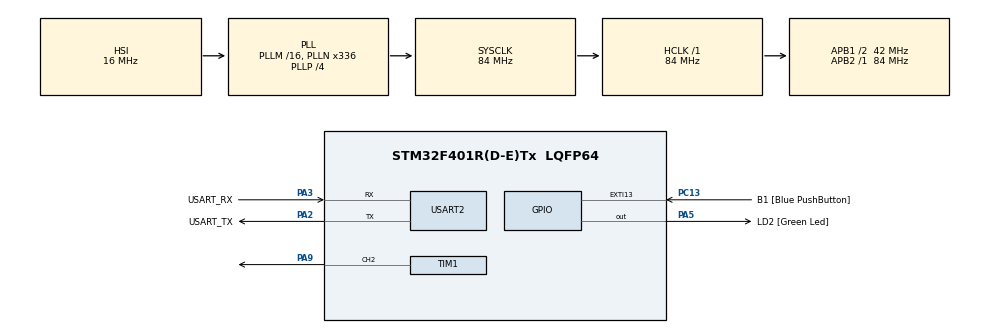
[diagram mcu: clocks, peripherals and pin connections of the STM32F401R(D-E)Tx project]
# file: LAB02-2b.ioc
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Mcu.Family=STM32F4
Mcu.Name=STM32F401R(D-E)Tx
Mcu.Package=LQFP64
NVIC.PriorityGroup=NVIC_PRIORITYGROUP_4
PA13.GPIO_Label=TMS
PA13.Mode=Trace_Asynchronous_SW
PA13.Signal=SYS_JTMS-SWDIO
PA14.GPIO_Label=TCK
PA14.Mode=Trace_Asynchronous_SW
PA14.Signal=SYS_JTCK-SWCLK
PA2.GPIO_Label=USART_TX
PA2.GPIO_Mode=GPIO_MODE_AF_PP
PA2.GPIO_PuPd=GPIO_NOPULL
PA2.GPIO_Speed=GPIO_SPEED_FREQ_LOW
PA2.Mode=Asynchronous
PA2.Signal=USART2_TX
PA3.GPIO_Label=USART_RX
PA3.GPIO_Mode=GPIO_MODE_AF_PP
PA3.GPIO_PuPd=GPIO_NOPULL
PA3.GPIO_Speed=GPIO_SPEED_FREQ_LOW
PA3.Mode=Asynchronous
PA3.Signal=USART2_RX
PA5.GPIO_Label=LD2 [Green Led]
PA5.GPIO_Mode=GPIO_MODE_OUTPUT_PP
PA5.GPIO_PuPd=GPIO_NOPULL
PA5.GPIO_Speed=GPIO_SPEED_FREQ_LOW
PA5.Signal=GPIO_Output
PA9.Signal=S_TIM1_CH2
PB3.GPIO_Label=SWO
PB3.Mode=Trace_Asynchronous_SW
PB3.Signal=SYS_JTDO-SWO
PC13-ANTI_TAMP.GPIO_Label=B1 [Blue PushButton]
PC13-ANTI_TAMP.GPIO_ModeDefaultEXTI=GPIO_MODE_IT_FALLING
PC13-ANTI_TAMP.GPIO_PuPd=GPIO_NOPULL
PC13-ANTI_TAMP.Signal=GPXTI13
PC14-OSC32_IN.Mode=LSE-External-Oscillator
PC14-OSC32_IN.Signal=RCC_OSC32_IN
PC15-OSC32_OUT.Mode=LSE-External-Oscillator
PC15-OSC32_OUT.Signal=RCC_OSC32_OUT
PH0\ -\ OSC_IN.Mode=HSE-External-Clock-Source
PH0\ -\ OSC_IN.Signal=RCC_OSC_IN
PH1\ -\ OSC_OUT.Mode=HSE-External-Clock-Source
PH1\ -\ OSC_OUT.Signal=RCC_OSC_OUT
ProjectManager.HeapSize=0x200
ProjectManager.StackSize=0x400
ProjectManager.TargetToolchain=STM32CubeIDE
RCC.48MHZClocksFreq_Value=48000000
RCC.AHBFreq_Value=84000000
RCC.APB1CLKDivider=RCC_HCLK_DIV2
RCC.APB1Freq_Value=42000000
RCC.APB1TimFreq_Value=84000000
RCC.APB2Freq_Value=84000000
RCC.APB2TimFreq_Value=84000000
RCC.CortexFreq_Value=84000000
RCC.HCLKFreq_Value=84000000
RCC.HSE_VALUE=8000000
RCC.HSI_VALUE=16000000
RCC.PLLN=336
RCC.PLLP=RCC_PLLP_DIV4
RCC.PLLQ=7
RCC.SYSCLKFreq_VALUE=84000000
RCC.SYSCLKSource=RCC_SYSCLKSOURCE_PLLCLK
RCC.VCOOutputFreq_Value=336000000
SH.S_TIM1_CH2.0=TIM1_CH2,PWM Generation2 CH2
TIM1.Channel-PWM\ Generation2\ CH2=TIM_CHANNEL_2
TIM1.Period=0
TIM1.Prescaler=99
USART2.VirtualMode=VM_ASYNC
board=NUCLEO-F401RE

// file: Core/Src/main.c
/* USER CODE BEGIN Header */
/**
  ******************************************************************************
  * @file           : main.c
  * @brief          : Main program body
  ******************************************************************************
  * @attention
  *
  * Copyright (c) 2026 STMicroelectronics.
  * All rights reserved.
  *
  * This software is licensed under terms that can be found in the LICENSE file
  * in the root directory of this software component.
  * If no LICENSE file comes with this software, it is provided AS-IS.
  *
  ******************************************************************************
  */
/* USER CODE END Header */
#include "main.h"

/* USER CODE BEGIN PTD */

typedef struct {
  uint16_t frequency; // Note frequency in Hz
  uint16_t duration;  // Note duration in milliseconds
} Note;

/* USER CODE END PTD */

TIM_HandleTypeDef htim1;

UART_HandleTypeDef huart2;

/* USER CODE BEGIN PV */

Note londonBridge[] = {
  // "Lon - don bridge is"
  {392, 600}, // G4 (Dotted Quarter)
  {440, 200}, // A4 (Eighth)
  {392, 400}, // G4 (Quarter)
  {349, 400}, // F4 (Quarter)

  // "fal - ling down"
  {330, 400}, // E4 (Quarter)
  {349, 400}, // F4 (Quarter)
  {392, 800}, // G4 (Half)

  // "fal - ling down"
  {294, 400}, // D4 (Quarter)
  {330, 400}, // E4 (Quarter)
  {349, 800}, // F4 (Half)

  // "fal - ling down"
  {330, 400}, // E4 (Quarter)
  {349, 400}, // F4 (Quarter)
  {392, 800}, // G4 (Half)

  // "Lon - don bridge is"
  {392, 600}, // G4 (Dotted Quarter)
  {440, 200}, // A4 (Eighth)
  {392, 400}, // G4 (Quarter)
  {349, 400}, // F4 (Quarter)

  // "fal - ling down"
  {330, 400}, // E4 (Quarter)
  {349, 400}, // F4 (Quarter)
  {392, 800}, // G4 (Half)

  // "my fair"
  {294, 800}, // D4 (Half)
  {392, 800}, // G4 (Half)

  // "la - dy"
  {330, 400},  // E4 (Quarter)
  {262, 1200}, // C4 (Dotted Half)
};

// Calculate how many notes are in the array
int songLength = sizeof(londonBridge) / sizeof(londonBridge[0]);

/* USER CODE END PV */

void SystemClock_Config(void);
static void MX_GPIO_Init(void);
static void MX_USART2_UART_Init(void);
static void MX_TIM1_Init(void);

/* USER CODE BEGIN 0 */

void playNote(uint16_t freq) {
  if (freq == 0) {

    // Mute the volume by setting Pulse (Duty Cycle) to 0
    __HAL_TIM_SET_COMPARE(&htim1, TIM_CHANNEL_2, 0);

  } else {

    // Calculate Period (ARR) based on the 840000 Hz timer frequency
    uint32_t arr = (840000 / freq) - 1;

    // Calculate Pulse (CCRx) for exactly 50% duty cycle
    uint32_t pulse = (arr + 1) / 2 - 1;

    // Write values to the timer registers dynamically
    __HAL_TIM_SET_AUTORELOAD(&htim1, arr);
    __HAL_TIM_SET_COMPARE(&htim1, TIM_CHANNEL_2, pulse);
  }
}

/* USER CODE END 0 */

int main(void)
{

  /* MCU Configuration--------------------------------------------------------*/

  /* Reset of all peripherals, Initializes the Flash interface and the Systick. */
  HAL_Init();

  /* Configure the system clock */
  SystemClock_Config();

  /* Initialize all configured peripherals */
  MX_GPIO_Init();
  MX_USART2_UART_Init();
  MX_TIM1_Init();
  /* USER CODE BEGIN 2 */

  // Start the timer on the speaker channel
  HAL_TIM_PWM_Start(&htim1, TIM_CHANNEL_2);

  // Step through the array to play the song
  for(int i = 0; i < songLength; i++) {

    // Set the frequency
    playNote(londonBridge[i].frequency);

    // Wait for the duration of the note
    HAL_Delay(londonBridge[i].duration);
  }

  // Stop the timer completely when the song is done
  HAL_TIM_PWM_Stop(&htim1, TIM_CHANNEL_2);

  /* USER CODE END 2 */

  /* Infinite loop */
  while (1)
  {

  }
}

void SystemClock_Config(void)
{
  RCC_OscInitTypeDef RCC_OscInitStruct = {0};
  RCC_ClkInitTypeDef RCC_ClkInitStruct = {0};

  /** Configure the main internal regulator output voltage
  */
  __HAL_RCC_PWR_CLK_ENABLE();
  __HAL_PWR_VOLTAGESCALING_CONFIG(PWR_REGULATOR_VOLTAGE_SCALE2);

  /** Initializes the RCC Oscillators according to the specified parameters
  * in the RCC_OscInitTypeDef structure.
  */
  RCC_OscInitStruct.OscillatorType = RCC_OSCILLATORTYPE_HSI;
  RCC_OscInitStruct.HSIState = RCC_HSI_ON;
  RCC_OscInitStruct.HSICalibrationValue = RCC_HSICALIBRATION_DEFAULT;
  RCC_OscInitStruct.PLL.PLLState = RCC_PLL_ON;
  RCC_OscInitStruct.PLL.PLLSource = RCC_PLLSOURCE_HSI;
  RCC_OscInitStruct.PLL.PLLM = 16;
  RCC_OscInitStruct.PLL.PLLN = 336;
  RCC_OscInitStruct.PLL.PLLP = RCC_PLLP_DIV4;
  RCC_OscInitStruct.PLL.PLLQ = 7;
  if (HAL_RCC_OscConfig(&RCC_OscInitStruct) != HAL_OK)
  {
    Error_Handler();
  }

  /** Initializes the CPU, AHB and APB buses clocks
  */
  RCC_ClkInitStruct.ClockType = RCC_CLOCKTYPE_HCLK|RCC_CLOCKTYPE_SYSCLK
                              |RCC_CLOCKTYPE_PCLK1|RCC_CLOCKTYPE_PCLK2;
  RCC_ClkInitStruct.SYSCLKSource = RCC_SYSCLKSOURCE_PLLCLK;
  RCC_ClkInitStruct.AHBCLKDivider = RCC_SYSCLK_DIV1;
  RCC_ClkInitStruct.APB1CLKDivider = RCC_HCLK_DIV2;
  RCC_ClkInitStruct.APB2CLKDivider = RCC_HCLK_DIV1;

  if (HAL_RCC_ClockConfig(&RCC_ClkInitStruct, FLASH_LATENCY_2) != HAL_OK)
  {
    Error_Handler();
  }
}

static void MX_TIM1_Init(void)
{

  TIM_MasterConfigTypeDef sMasterConfig = {0};
  TIM_OC_InitTypeDef sConfigOC = {0};
  TIM_BreakDeadTimeConfigTypeDef sBreakDeadTimeConfig = {0};

  htim1.Instance = TIM1;
  htim1.Init.Prescaler = 99;
  htim1.Init.CounterMode = TIM_COUNTERMODE_UP;
  htim1.Init.Period = 0;
  htim1.Init.ClockDivision = TIM_CLOCKDIVISION_DIV1;
  htim1.Init.RepetitionCounter = 0;
  htim1.Init.AutoReloadPreload = TIM_AUTORELOAD_PRELOAD_DISABLE;
  if (HAL_TIM_PWM_Init(&htim1) != HAL_OK)
  {
    Error_Handler();
  }
  sMasterConfig.MasterOutputTrigger = TIM_TRGO_RESET;
  sMasterConfig.MasterSlaveMode = TIM_MASTERSLAVEMODE_DISABLE;
  if (HAL_TIMEx_MasterConfigSynchronization(&htim1, &sMasterConfig) != HAL_OK)
  {
    Error_Handler();
  }
  sConfigOC.OCMode = TIM_OCMODE_PWM1;
  sConfigOC.Pulse = 0;
  sConfigOC.OCPolarity = TIM_OCPOLARITY_HIGH;
  sConfigOC.OCNPolarity = TIM_OCNPOLARITY_HIGH;
  sConfigOC.OCFastMode = TIM_OCFAST_DISABLE;
  sConfigOC.OCIdleState = TIM_OCIDLESTATE_RESET;
  sConfigOC.OCNIdleState = TIM_OCNIDLESTATE_RESET;
  if (HAL_TIM_PWM_ConfigChannel(&htim1, &sConfigOC, TIM_CHANNEL_2) != HAL_OK)
  {
    Error_Handler();
  }
  sBreakDeadTimeConfig.OffStateRunMode = TIM_OSSR_DISABLE;
  sBreakDeadTimeConfig.OffStateIDLEMode = TIM_OSSI_DISABLE;
  sBreakDeadTimeConfig.LockLevel = TIM_LOCKLEVEL_OFF;
  sBreakDeadTimeConfig.DeadTime = 0;
  sBreakDeadTimeConfig.BreakState = TIM_BREAK_DISABLE;
  sBreakDeadTimeConfig.BreakPolarity = TIM_BREAKPOLARITY_HIGH;
  sBreakDeadTimeConfig.AutomaticOutput = TIM_AUTOMATICOUTPUT_DISABLE;
  if (HAL_TIMEx_ConfigBreakDeadTime(&htim1, &sBreakDeadTimeConfig) != HAL_OK)
  {
    Error_Handler();
  }
  HAL_TIM_MspPostInit(&htim1);

}

static void MX_USART2_UART_Init(void)
{

  huart2.Instance = USART2;
  huart2.Init.BaudRate = 115200;
  huart2.Init.WordLength = UART_WORDLENGTH_8B;
  huart2.Init.StopBits = UART_STOPBITS_1;
  huart2.Init.Parity = UART_PARITY_NONE;
  huart2.Init.Mode = UART_MODE_TX_RX;
  huart2.Init.HwFlowCtl = UART_HWCONTROL_NONE;
  huart2.Init.OverSampling = UART_OVERSAMPLING_16;
  if (HAL_UART_Init(&huart2) != HAL_OK)
  {
    Error_Handler();
  }

}

static void MX_GPIO_Init(void)
{
  GPIO_InitTypeDef GPIO_InitStruct = {0};

  /* GPIO Ports Clock Enable */
  __HAL_RCC_GPIOC_CLK_ENABLE();
  __HAL_RCC_GPIOH_CLK_ENABLE();
  __HAL_RCC_GPIOA_CLK_ENABLE();
  __HAL_RCC_GPIOB_CLK_ENABLE();

  /*Configure GPIO pin Output Level */
  HAL_GPIO_WritePin(LD2_GPIO_Port, LD2_Pin, GPIO_PIN_RESET);

  /*Configure GPIO pin : B1_Pin */
  GPIO_InitStruct.Pin = B1_Pin;
  GPIO_InitStruct.Mode = GPIO_MODE_IT_FALLING;
  GPIO_InitStruct.Pull = GPIO_NOPULL;
  HAL_GPIO_Init(B1_GPIO_Port, &GPIO_InitStruct);

  /*Configure GPIO pin : LD2_Pin */
  GPIO_InitStruct.Pin = LD2_Pin;
  GPIO_InitStruct.Mode = GPIO_MODE_OUTPUT_PP;
  GPIO_InitStruct.Pull = GPIO_NOPULL;
  GPIO_InitStruct.Speed = GPIO_SPEED_FREQ_LOW;
  HAL_GPIO_Init(LD2_GPIO_Port, &GPIO_InitStruct);

}

void Error_Handler(void)
{
  __disable_irq();
  while (1)
  {
  }
}
